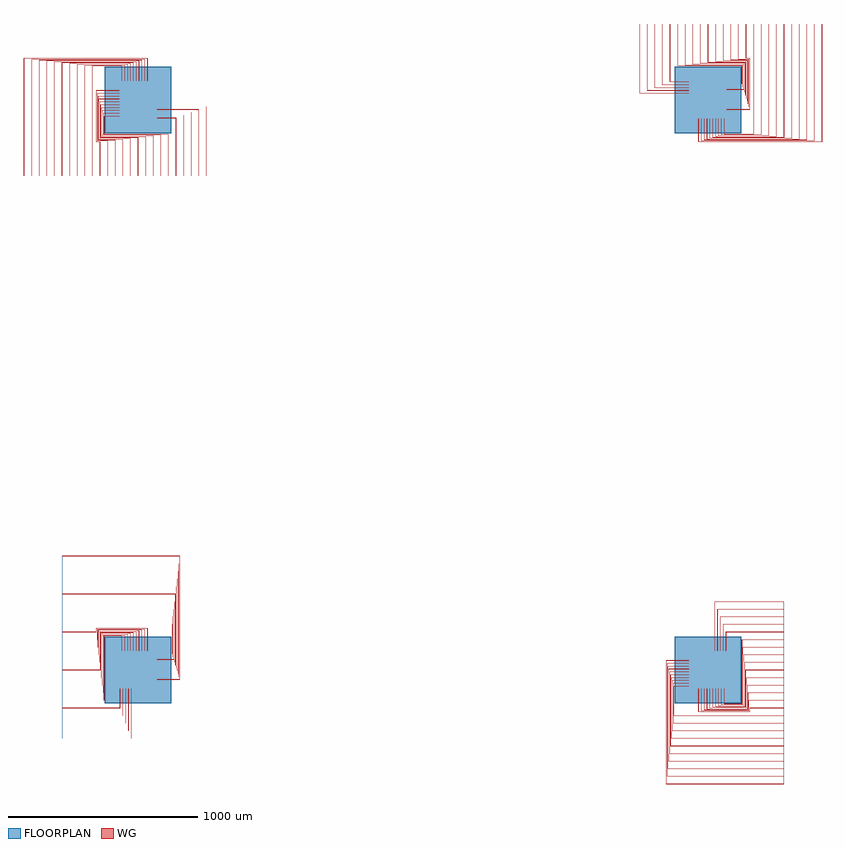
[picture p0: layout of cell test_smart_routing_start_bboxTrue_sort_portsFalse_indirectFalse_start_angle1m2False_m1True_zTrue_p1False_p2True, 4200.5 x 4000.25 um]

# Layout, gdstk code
import gdstk
lib = gdstk.Library(unit=1e-6, precision=1e-09)
def R(c, l, rs):  # rectangles x0, y0, x1, y1
    for r in rs: c.add(gdstk.rectangle(r[:2], r[2:], *l))
def P(c, l, *ps):  # polygons
    for p in ps: c.add(gdstk.Polygon(p, *l))
WG = (1, 0)
FLOORPLAN = (10, 0)

test_smart_routing_start = lib.new_cell('test_smart_routing_start_bboxTrue_sort_portsFalse_indirectFalse_start_angle1m2False_m1True_zTrue_p1False_p2True')
P(test_smart_routing_start, WG, [(100,-50.25),(100,-49.75),(219.5,-49.75),(219.5,599.75),(-400,599.75),(-400,600.25),(220,600.25),(220,-50.25)],
  [(100,-35.25),(100,-34.75),(215,-34.75),(215,559.75),(-400,559.75),(-400,560.25),(215.5,560.25),(215.5,-35.25)],
  [(100,-20.25),(100,-19.75),(210.5,-19.75),(210.5,519.75),(-400,519.75),(-400,520.25),(211,520.25),(211,-20.25)],
  [(100,-5.25),(100,-4.75),(206,-4.75),(206,479.75),(-400,479.75),(-400,480.25),(206.5,480.25),(206.5,-5.25)],
  [(100,9.75),(100,10.25),(201.5,10.25),(201.5,439.75),(-400,439.75),(-400,440.25),(202,440.25),(202,9.75)],
  [(100,24.75),(100,25.25),(197,25.25),(197,399.75),(-400,399.75),(-400,400.25),(197.5,400.25),(197.5,24.75)],
  [(100,39.75),(100,40.25),(192.5,40.25),(192.5,359.75),(-400,359.75),(-400,360.25),(193,360.25),(193,39.75)],
  [(100,54.75),(100,55.25),(188,55.25),(188,319.75),(-400,319.75),(-400,320.25),(188.5,320.25),(188.5,54.75)],
  [(100,69.75),(100,70.25),(183.5,70.25),(183.5,279.75),(-400,279.75),(-400,280.25),(184,280.25),(184,69.75)],
  [(100,84.75),(100,85.25),(179,85.25),(179,239.75),(-400,239.75),(-400,240.25),(179.5,240.25),(179.5,84.75)],
  [(49.75,100),(49.75,219.5),(-219.5,219.5),(-219.5,199.75),(-400,199.75),(-400,200.25),(-220,200.25),(-220,220),(50.25,220),(50.25,100)],
  [(34.75,100),(34.75,215),(-215,215),(-215,159.75),(-400,159.75),(-400,160.25),(-215.5,160.25),(-215.5,215.5),(35.25,215.5),(35.25,100)],
  [(19.75,100),(19.75,210.5),(-210.5,210.5),(-210.5,119.75),(-400,119.75),(-400,120.25),(-211,120.25),(-211,211),(20.25,211),(20.25,100)],
  [(-400,79.75),(-400,80.25),(-206.5,80.25),(-206.5,206.5),(5.25,206.5),(5.25,100),(4.75,100),(4.75,206),(-206,206),(-206,79.75)],
  [(-400,39.75),(-400,40.25),(-202,40.25),(-202,202),(-9.75,202),(-9.75,100),(-10.25,100),(-10.25,201.5),(-201.5,201.5),(-201.5,39.75)],
  [(-400,-0.25),(-400,0.25),(-197.5,0.25),(-197.5,197.5),(-24.75,197.5),(-24.75,100),(-25.25,100),(-25.25,197),(-197,197),(-197,-0.25)],
  [(-400,-40.25),(-400,-39.75),(-193,-39.75),(-193,193),(-39.75,193),(-39.75,100),(-40.25,100),(-40.25,192.5),(-192.5,192.5),(-192.5,-40.25)],
  [(-400,-80.25),(-400,-79.75),(-188.5,-79.75),(-188.5,188.5),(-54.75,188.5),(-54.75,100),(-55.25,100),(-55.25,188),(-188,188),(-188,-80.25)],
  [(-400,-120.25),(-400,-119.75),(-184,-119.75),(-184,184),(-69.75,184),(-69.75,100),(-70.25,100),(-70.25,183.5),(-183.5,183.5),(-183.5,-120.25)],
  [(-400,-160.25),(-400,-159.75),(-179.5,-159.75),(-179.5,179.5),(-84.75,179.5),(-84.75,100),(-85.25,100),(-85.25,179),(-179,179),(-179,-160.25)],
  [(-400,-360.25),(-400,-359.75),(-35.25,-359.75),(-35.25,-100),(-34.75,-100),(-34.75,-360.25)],
  [(-400,-320.25),(-400,-319.75),(-50.25,-319.75),(-50.25,-100),(-49.75,-100),(-49.75,-320.25)],
  [(-400,-280.25),(-400,-279.75),(-65.25,-279.75),(-65.25,-100),(-64.75,-100),(-64.75,-280.25)],
  [(-400,-240.25),(-400,-239.75),(-80.25,-239.75),(-80.25,-100),(-79.75,-100),(-79.75,-240.25)],
  [(-400,-200.25),(-400,-199.75),(-95.25,-199.75),(-95.25,-100),(-94.75,-100),(-94.75,-200.25)],
  [(-600.25,2600),(-600.25,3220),(50.25,3220),(50.25,3100),(49.75,3100),(49.75,3219.5),(-599.75,3219.5),(-599.75,2600)],
  [(-560.25,2600),(-560.25,3215.5),(35.25,3215.5),(35.25,3100),(34.75,3100),(34.75,3215),(-559.75,3215),(-559.75,2600)],
  [(-520.25,2600),(-520.25,3211),(20.25,3211),(20.25,3100),(19.75,3100),(19.75,3210.5),(-519.75,3210.5),(-519.75,2600)],
  [(-480.25,2600),(-480.25,3206.5),(5.25,3206.5),(5.25,3100),(4.75,3100),(4.75,3206),(-479.75,3206),(-479.75,2600)],
  [(-440.25,2600),(-440.25,3202),(-9.75,3202),(-9.75,3100),(-10.25,3100),(-10.25,3201.5),(-439.75,3201.5),(-439.75,2600)],
  [(-400.25,2600),(-400.25,3197.5),(-24.75,3197.5),(-24.75,3100),(-25.25,3100),(-25.25,3197),(-399.75,3197),(-399.75,2600)],
  [(-360.25,2600),(-360.25,3193),(-39.75,3193),(-39.75,3100),(-40.25,3100),(-40.25,3192.5),(-359.75,3192.5),(-359.75,2600)],
  [(-320.25,2600),(-320.25,3188.5),(-54.75,3188.5),(-54.75,3100),(-55.25,3100),(-55.25,3188),(-319.75,3188),(-319.75,2600)],
  [(-280.25,2600),(-280.25,3184),(-69.75,3184),(-69.75,3100),(-70.25,3100),(-70.25,3183.5),(-279.75,3183.5),(-279.75,2600)],
  [(-240.25,2600),(-240.25,3179.5),(-84.75,3179.5),(-84.75,3100),(-85.25,3100),(-85.25,3179),(-239.75,3179),(-239.75,2600)],
  [(-200.25,2600),(-200.25,2780),(-220,2780),(-220,3050.25),(-100,3050.25),(-100,3049.75),(-219.5,3049.75),(-219.5,2780.5),(-199.75,2780.5),(-199.75,2600)],
  [(-160.25,2600),(-160.25,2784.5),(-215.5,2784.5),(-215.5,3035.25),(-100,3035.25),(-100,3034.75),(-215,3034.75),(-215,2785),(-159.75,2785),(-159.75,2600)],
  [(-120.25,2600),(-120.25,2789),(-211,2789),(-211,3020.25),(-100,3020.25),(-100,3019.75),(-210.5,3019.75),(-210.5,2789.5),(-119.75,2789.5),(-119.75,2600)],
  [(-80.25,2600),(-80.25,2793.5),(-206.5,2793.5),(-206.5,3005.25),(-100,3005.25),(-100,3004.75),(-206,3004.75),(-206,2794),(-79.75,2794),(-79.75,2600)],
  [(-40.25,2600),(-40.25,2798),(-202,2798),(-202,2990.25),(-100,2990.25),(-100,2989.75),(-201.5,2989.75),(-201.5,2798.5),(-39.75,2798.5),(-39.75,2600)],
  [(-0.25,2600),(-0.25,2802.5),(-197.5,2802.5),(-197.5,2975.25),(-100,2975.25),(-100,2974.75),(-197,2974.75),(-197,2803),(0.25,2803),(0.25,2600)],
  [(39.75,2600),(39.75,2807),(-193,2807),(-193,2960.25),(-100,2960.25),(-100,2959.75),(-192.5,2959.75),(-192.5,2807.5),(40.25,2807.5),(40.25,2600)],
  [(79.75,2600),(79.75,2811.5),(-188.5,2811.5),(-188.5,2945.25),(-100,2945.25),(-100,2944.75),(-188,2944.75),(-188,2812),(80.25,2812),(80.25,2600)],
  [(119.75,2600),(119.75,2816),(-184,2816),(-184,2930.25),(-100,2930.25),(-100,2929.75),(-183.5,2929.75),(-183.5,2816.5),(120.25,2816.5),(120.25,2600)],
  [(159.75,2600),(159.75,2820.5),(-179.5,2820.5),(-179.5,2915.25),(-100,2915.25),(-100,2914.75),(-179,2914.75),(-179,2821),(160.25,2821),(160.25,2600)],
  [(359.75,2600),(359.75,2964.75),(100,2964.75),(100,2965.25),(360.25,2965.25),(360.25,2600)],
  [(319.75,2600),(319.75,2949.75),(100,2949.75),(100,2950.25),(320.25,2950.25),(320.25,2600)],
  [(279.75,2600),(279.75,2934.75),(100,2934.75),(100,2935.25),(280.25,2935.25),(280.25,2600)],
  [(239.75,2600),(239.75,2919.75),(100,2919.75),(100,2920.25),(240.25,2920.25),(240.25,2600)],
  [(199.75,2600),(199.75,2904.75),(100,2904.75),(100,2905.25),(200.25,2905.25),(200.25,2600)],
  [(2780,-600.25),(2780,50.25),(2900,50.25),(2900,49.75),(2780.5,49.75),(2780.5,-599.75),(3400,-599.75),(3400,-600.25)],
  [(2784.5,-560.25),(2784.5,35.25),(2900,35.25),(2900,34.75),(2785,34.75),(2785,-559.75),(3400,-559.75),(3400,-560.25)],
  [(2789,-520.25),(2789,20.25),(2900,20.25),(2900,19.75),(2789.5,19.75),(2789.5,-519.75),(3400,-519.75),(3400,-520.25)],
  [(2793.5,-480.25),(2793.5,5.25),(2900,5.25),(2900,4.75),(2794,4.75),(2794,-479.75),(3400,-479.75),(3400,-480.25)],
  [(2798,-440.25),(2798,-9.75),(2900,-9.75),(2900,-10.25),(2798.5,-10.25),(2798.5,-439.75),(3400,-439.75),(3400,-440.25)],
  [(2802.5,-400.25),(2802.5,-24.75),(2900,-24.75),(2900,-25.25),(2803,-25.25),(2803,-399.75),(3400,-399.75),(3400,-400.25)],
  [(2807,-360.25),(2807,-39.75),(2900,-39.75),(2900,-40.25),(2807.5,-40.25),(2807.5,-359.75),(3400,-359.75),(3400,-360.25)],
  [(2811.5,-320.25),(2811.5,-54.75),(2900,-54.75),(2900,-55.25),(2812,-55.25),(2812,-319.75),(3400,-319.75),(3400,-320.25)],
  [(2816,-280.25),(2816,-69.75),(2900,-69.75),(2900,-70.25),(2816.5,-70.25),(2816.5,-279.75),(3400,-279.75),(3400,-280.25)],
  [(2820.5,-240.25),(2820.5,-84.75),(2900,-84.75),(2900,-85.25),(2821,-85.25),(2821,-239.75),(3400,-239.75),(3400,-240.25)],
  [(2949.75,-220),(2949.75,-100),(2950.25,-100),(2950.25,-219.5),(3219.5,-219.5),(3219.5,-199.75),(3400,-199.75),(3400,-200.25),(3220,-200.25),(3220,-220)],
  [(2964.75,-215.5),(2964.75,-100),(2965.25,-100),(2965.25,-215),(3215,-215),(3215,-159.75),(3400,-159.75),(3400,-160.25),(3215.5,-160.25),(3215.5,-215.5)],
  [(2979.75,-211),(2979.75,-100),(2980.25,-100),(2980.25,-210.5),(3210.5,-210.5),(3210.5,-119.75),(3400,-119.75),(3400,-120.25),(3211,-120.25),(3211,-211)],
  [(2994.75,-206.5),(2994.75,-100),(2995.25,-100),(2995.25,-206),(3206,-206),(3206,-79.75),(3400,-79.75),(3400,-80.25),(3206.5,-80.25),(3206.5,-206.5)],
  [(3009.75,-202),(3009.75,-100),(3010.25,-100),(3010.25,-201.5),(3201.5,-201.5),(3201.5,-39.75),(3400,-39.75),(3400,-40.25),(3202,-40.25),(3202,-202)],
  [(3024.75,-197.5),(3024.75,-100),(3025.25,-100),(3025.25,-197),(3197,-197),(3197,0.25),(3400,0.25),(3400,-0.25),(3197.5,-0.25),(3197.5,-197.5)],
  [(3039.75,-193),(3039.75,-100),(3040.25,-100),(3040.25,-192.5),(3192.5,-192.5),(3192.5,40.25),(3400,40.25),(3400,39.75),(3193,39.75),(3193,-193)],
  [(3054.75,-188.5),(3054.75,-100),(3055.25,-100),(3055.25,-188),(3188,-188),(3188,80.25),(3400,80.25),(3400,79.75),(3188.5,79.75),(3188.5,-188.5)],
  [(3069.75,-184),(3069.75,-100),(3070.25,-100),(3070.25,-183.5),(3183.5,-183.5),(3183.5,120.25),(3400,120.25),(3400,119.75),(3184,119.75),(3184,-184)],
  [(3084.75,-179.5),(3084.75,-100),(3085.25,-100),(3085.25,-179),(3179,-179),(3179,160.25),(3400,160.25),(3400,159.75),(3179.5,159.75),(3179.5,-179.5)],
  [(3034.75,100),(3034.75,360.25),(3400,360.25),(3400,359.75),(3035.25,359.75),(3035.25,100)],
  [(3049.75,100),(3049.75,320.25),(3400,320.25),(3400,319.75),(3050.25,319.75),(3050.25,100)],
  [(3064.75,100),(3064.75,280.25),(3400,280.25),(3400,279.75),(3065.25,279.75),(3065.25,100)],
  [(3079.75,100),(3079.75,240.25),(3400,240.25),(3400,239.75),(3080.25,239.75),(3080.25,100)],
  [(3094.75,100),(3094.75,200.25),(3400,200.25),(3400,199.75),(3095.25,199.75),(3095.25,100)],
  [(2949.75,2780),(2949.75,2900),(2950.25,2900),(2950.25,2780.5),(3599.75,2780.5),(3599.75,3400),(3600.25,3400),(3600.25,2780)],
  [(2964.75,2784.5),(2964.75,2900),(2965.25,2900),(2965.25,2785),(3559.75,2785),(3559.75,3400),(3560.25,3400),(3560.25,2784.5)],
  [(2979.75,2789),(2979.75,2900),(2980.25,2900),(2980.25,2789.5),(3519.75,2789.5),(3519.75,3400),(3520.25,3400),(3520.25,2789)],
  [(2994.75,2793.5),(2994.75,2900),(2995.25,2900),(2995.25,2794),(3479.75,2794),(3479.75,3400),(3480.25,3400),(3480.25,2793.5)],
  [(3009.75,2798),(3009.75,2900),(3010.25,2900),(3010.25,2798.5),(3439.75,2798.5),(3439.75,3400),(3440.25,3400),(3440.25,2798)],
  [(3024.75,2802.5),(3024.75,2900),(3025.25,2900),(3025.25,2803),(3399.75,2803),(3399.75,3400),(3400.25,3400),(3400.25,2802.5)],
  [(3039.75,2807),(3039.75,2900),(3040.25,2900),(3040.25,2807.5),(3359.75,2807.5),(3359.75,3400),(3360.25,3400),(3360.25,2807)],
  [(3054.75,2811.5),(3054.75,2900),(3055.25,2900),(3055.25,2812),(3319.75,2812),(3319.75,3400),(3320.25,3400),(3320.25,2811.5)],
  [(3069.75,2816),(3069.75,2900),(3070.25,2900),(3070.25,2816.5),(3279.75,2816.5),(3279.75,3400),(3280.25,3400),(3280.25,2816)],
  [(3084.75,2820.5),(3084.75,2900),(3085.25,2900),(3085.25,2821),(3239.75,2821),(3239.75,3400),(3240.25,3400),(3240.25,2820.5)],
  [(3100,2949.75),(3100,2950.25),(3219.5,2950.25),(3219.5,3219.5),(3199.75,3219.5),(3199.75,3400),(3200.25,3400),(3200.25,3220),(3220,3220),(3220,2949.75)],
  [(3100,2964.75),(3100,2965.25),(3215,2965.25),(3215,3215),(3159.75,3215),(3159.75,3400),(3160.25,3400),(3160.25,3215.5),(3215.5,3215.5),(3215.5,2964.75)],
  [(3100,2979.75),(3100,2980.25),(3210.5,2980.25),(3210.5,3210.5),(3119.75,3210.5),(3119.75,3400),(3120.25,3400),(3120.25,3211),(3211,3211),(3211,2979.75)],
  [(3100,2994.75),(3100,2995.25),(3206,2995.25),(3206,3206),(3079.75,3206),(3079.75,3400),(3080.25,3400),(3080.25,3206.5),(3206.5,3206.5),(3206.5,2994.75)],
  [(3100,3009.75),(3100,3010.25),(3201.5,3010.25),(3201.5,3201.5),(3039.75,3201.5),(3039.75,3400),(3040.25,3400),(3040.25,3202),(3202,3202),(3202,3009.75)],
  [(3100,3024.75),(3100,3025.25),(3197,3025.25),(3197,3197),(2999.75,3197),(2999.75,3400),(3000.25,3400),(3000.25,3197.5),(3197.5,3197.5),(3197.5,3024.75)],
  [(3100,3039.75),(3100,3040.25),(3192.5,3040.25),(3192.5,3192.5),(2959.75,3192.5),(2959.75,3400),(2960.25,3400),(2960.25,3193),(3193,3193),(3193,3039.75)],
  [(3100,3054.75),(3100,3055.25),(3188,3055.25),(3188,3188),(2919.75,3188),(2919.75,3400),(2920.25,3400),(2920.25,3188.5),(3188.5,3188.5),(3188.5,3054.75)],
  [(3100,3069.75),(3100,3070.25),(3183.5,3070.25),(3183.5,3183.5),(2879.75,3183.5),(2879.75,3400),(2880.25,3400),(2880.25,3184),(3184,3184),(3184,3069.75)],
  [(3100,3084.75),(3100,3085.25),(3179,3085.25),(3179,3179),(2839.75,3179),(2839.75,3400),(2840.25,3400),(2840.25,3179.5),(3179.5,3179.5),(3179.5,3084.75)],
  [(2639.75,3034.75),(2639.75,3400),(2640.25,3400),(2640.25,3035.25),(2900,3035.25),(2900,3034.75)],
  [(2679.75,3049.75),(2679.75,3400),(2680.25,3400),(2680.25,3050.25),(2900,3050.25),(2900,3049.75)],
  [(2719.75,3064.75),(2719.75,3400),(2720.25,3400),(2720.25,3065.25),(2900,3065.25),(2900,3064.75)],
  [(2759.75,3079.75),(2759.75,3400),(2760.25,3400),(2760.25,3080.25),(2900,3080.25),(2900,3079.75)],
  [(2799.75,3094.75),(2799.75,3400),(2800.25,3400),(2800.25,3095.25),(2900,3095.25),(2900,3094.75)])
R(test_smart_routing_start, FLOORPLAN, [(-175,-175,175,175), (2825,-175,3175,175), (-175,2825,175,3175), (2825,2825,3175,3175)])
P(test_smart_routing_start, FLOORPLAN, [(-400,-360),(-400,600),(-400,600),(-400,-360)],
  [(-600,2600),(-600,2600),(360,2600),(360,2600)],
  [(3400,-600),(3400,360),(3400,360),(3400,-600)],
  [(2640,3400),(2640,3400),(3600,3400),(3600,3400)])

lib.write_gds('test_smart_routing_start_bboxTrue_sort_portsFalse_indirectFalse_start_angle1m2False_m1True_zTrue_p1False_p2True.gds')
